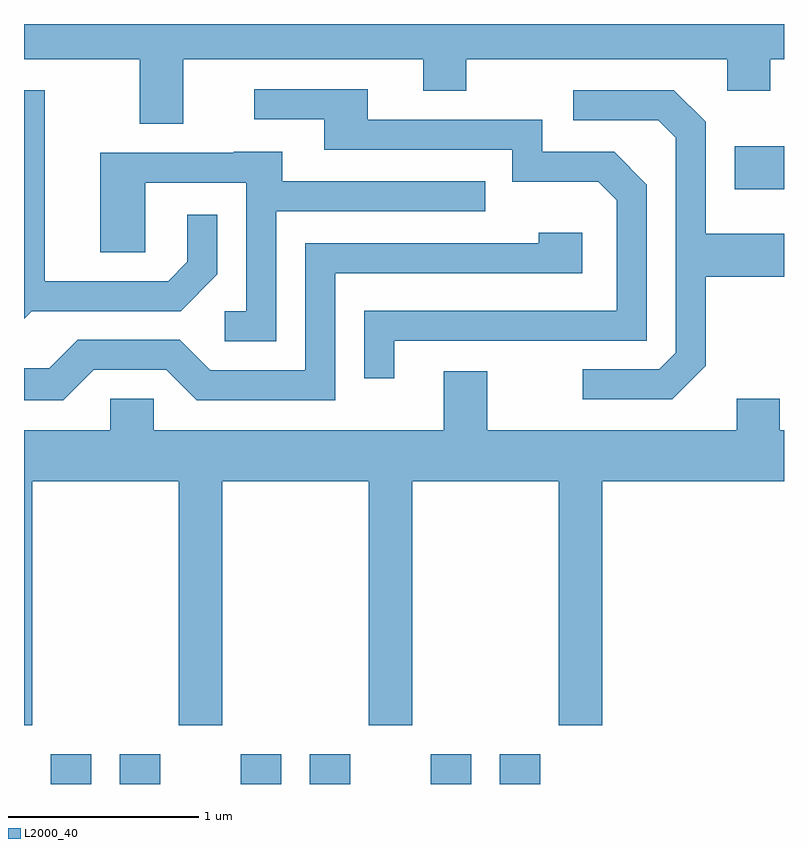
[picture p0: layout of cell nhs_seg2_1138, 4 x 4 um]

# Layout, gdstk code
import gdstk
lib = gdstk.Library(unit=1e-6, precision=1e-09)
def R(c, l, rs):  # rectangles x0, y0, x1, y1
    for r in rs: c.add(gdstk.rectangle(r[:2], r[2:], *l))
def P(c, l, *ps):  # polygons
    for p in ps: c.add(gdstk.Polygon(p, *l))
L2000_40 = (2000, 40)

nhs_seg2_1138 = lib.new_cell('nhs_seg2_1138')
R(nhs_seg2_1138, L2000_40, [(217.751,1077.802,217.964,1077.959), (218.116,1077.802,218.329,1077.959), (218.751,1077.802,218.964,1077.959), (219.116,1077.802,219.329,1077.959), (219.751,1077.802,219.964,1077.959), (220.116,1077.802,220.329,1077.959), (221.351,1080.931,221.611,1081.159)])
P(nhs_seg2_1138, L2000_40, [(218.449,1081.616),(219.711,1081.616),(219.711,1081.451),(219.939,1081.451),(219.939,1081.616),(221.311,1081.616),(221.311,1081.451),(221.539,1081.451),(221.539,1081.616),(221.611,1081.616),(221.611,1081.802),(217.611,1081.802),(217.611,1081.616),(218.221,1081.616),(218.221,1081.276),(218.449,1081.276)],
  [(219.559,1080.136),(220.889,1080.136),(220.889,1080.957),(220.717,1081.129),(220.339,1081.129),(220.339,1081.299),(219.419,1081.299),(219.419,1081.459),(218.823,1081.459),(218.823,1081.301),(219.191,1081.301),(219.191,1081.141),(220.181,1081.141),(220.181,1080.971),(220.634,1080.971),(220.731,1080.874),(220.731,1080.294),(219.401,1080.294),(219.401,1079.938),(219.559,1079.938)],
  [(217.652,1080.291),(218.437,1080.291),(218.629,1080.484),(218.629,1080.798),(218.471,1080.798),(218.471,1080.552),(218.369,1080.449),(217.719,1080.449),(217.719,1081.454),(217.611,1081.454),(217.611,1080.25)],
  [(221.199,1080.004),(221.199,1080.471),(221.611,1080.471),(221.611,1080.699),(221.199,1080.699),(221.199,1081.287),(221.032,1081.454),(220.503,1081.454),(220.503,1081.296),(220.949,1081.296),(221.041,1081.204),(221.041,1080.072),(220.954,1079.984),(220.553,1079.984),(220.553,1079.826),(221.022,1079.826)],
  [(218.939,1080.816),(220.038,1080.816),(220.038,1080.974),(218.969,1080.974),(218.969,1081.129),(218.715,1081.129),(218.715,1081.124),(218.011,1081.124),(218.011,1080.601),(218.249,1080.601),(218.249,1080.966),(218.781,1080.966),(218.781,1080.289),(218.668,1080.289),(218.668,1080.131),(218.939,1080.131)],
  [(217.977,1079.981),(218.359,1079.981),(218.519,1079.821),(219.249,1079.821),(219.249,1080.491),(220.549,1080.491),(220.549,1080.704),(220.321,1080.704),(220.321,1080.649),(219.091,1080.649),(219.091,1079.979),(218.592,1079.979),(218.432,1080.139),(217.894,1080.139),(217.744,1079.989),(217.611,1079.989),(217.611,1079.821),(217.817,1079.821)],
  [(217.654,1079.396),(218.426,1079.396),(218.426,1078.111),(218.654,1078.111),(218.654,1079.396),(219.426,1079.396),(219.426,1078.111),(219.654,1078.111),(219.654,1079.396),(220.426,1079.396),(220.426,1078.111),(220.654,1078.111),(220.654,1079.396),(221.611,1079.396),(221.611,1079.664),(221.589,1079.664),(221.589,1079.829),(221.361,1079.829),(221.361,1079.664),(220.049,1079.664),(220.049,1079.974),(219.821,1079.974),(219.821,1079.664),(218.294,1079.664),(218.294,1079.829),(218.066,1079.829),(218.066,1079.664),(217.611,1079.664),(217.611,1078.111),(217.654,1078.111)])

lib.write_gds('nhs_seg2_1138.gds')
